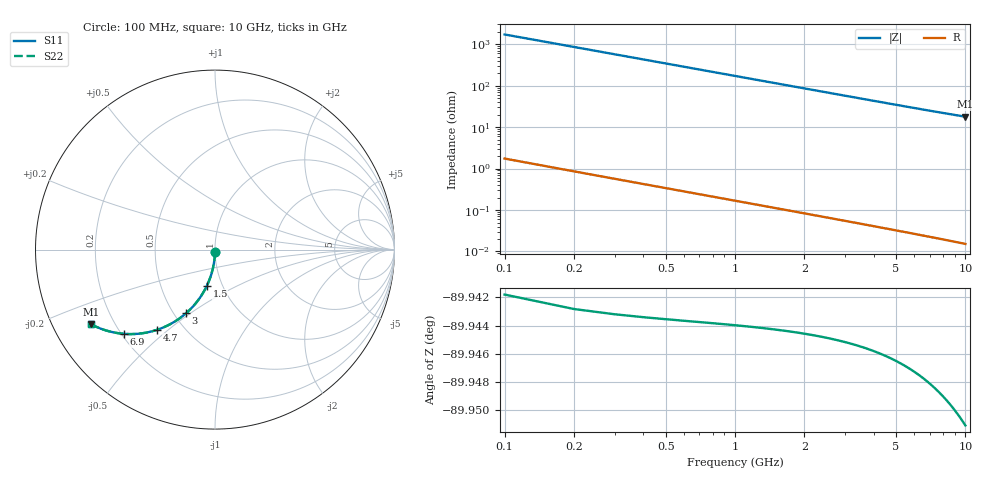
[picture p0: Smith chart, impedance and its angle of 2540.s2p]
# Hz S RI R 50.00
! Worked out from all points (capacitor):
!   100 points, 100 MHz to 10 GHz, reference 50 ohm
!   read as one part in shunt: C = 927 fF near 100 MHz
!   lowest |Z| = 17.8 ohm at 10 GHz (marker M1)
!   S11 on the Smith chart (normalised r, x): 100 MHz: 1.00, -0.03; 1.5 GHz: 0.84, -0.36; 3 GHz: 0.58, -0.48; 4.7 GHz: 0.36, -0.46; 6.9 GHz: 0.21, -0.38; 10 GHz: 0.12, -0.28
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1e8  -0.00015 -0.0141  0.9997 -0.015  0.9997 -0.015  -0.00015 -0.0141
2e8  -0.000798 -0.0282  0.999 -0.0299  0.999 -0.0299  -0.000798 -0.0282
3e8  -0.00187 -0.0423  0.998 -0.0449  0.998 -0.0449  -0.00187 -0.0423
4e8  -0.00336 -0.0563  0.9965 -0.0597  0.9965 -0.0597  -0.00336 -0.0563
5e8  -0.00526 -0.0703  0.9946 -0.0745  0.9946 -0.0745  -0.00526 -0.0703
6e8  -0.00758 -0.0841  0.9923 -0.0893  0.9923 -0.0893  -0.00758 -0.0841
7e8  -0.0103 -0.0979  0.9895 -0.1039  0.9895 -0.1039  -0.0103 -0.0979
9e8  -0.0169 -0.125  0.9829 -0.1327  0.9829 -0.1327  -0.0169 -0.125
1.2e9  -0.0297 -0.1645  0.9701 -0.1747  0.9701 -0.1747  -0.0297 -0.1645
1.5e9  -0.0457 -0.2022  0.9541 -0.215  0.9541 -0.215  -0.0457 -0.2022
1.8e9  -0.0645 -0.2378  0.9352 -0.2532  0.9352 -0.2532  -0.0645 -0.2378
2.4e9  -0.1094 -0.3016  0.8902 -0.3222  0.8902 -0.3222  -0.1094 -0.3016
3e9  -0.1613 -0.3546  0.8382 -0.3804  0.8382 -0.3804  -0.1613 -0.3546
3.4e9  -0.1983 -0.3838  0.8011 -0.4131  0.8011 -0.4131  -0.1983 -0.3838
4e9  -0.2555 -0.4186  0.7437 -0.4531  0.7437 -0.4531  -0.2555 -0.4186
4.7e9  -0.3222 -0.4466  0.6768 -0.4874  0.6768 -0.4874  -0.3222 -0.4466
5.1e9  -0.3593 -0.4573  0.6395 -0.5016  0.6395 -0.5016  -0.3593 -0.4573
5.9e9  -0.4298 -0.4689  0.5687 -0.5204  0.5687 -0.5204  -0.4298 -0.4689
6.7e9  -0.494 -0.4701  0.5041 -0.5289  0.5041 -0.5289  -0.494 -0.4701
6.9e9  -0.509 -0.4691  0.489 -0.5297  0.489 -0.5297  -0.509 -0.4691
8.4e9  -0.6079 -0.4501  0.3892 -0.5247  0.3892 -0.5247  -0.6079 -0.4501
1e10  -0.6894 -0.4165  0.3064 -0.5062  0.3064 -0.5062  -0.6894 -0.4165
